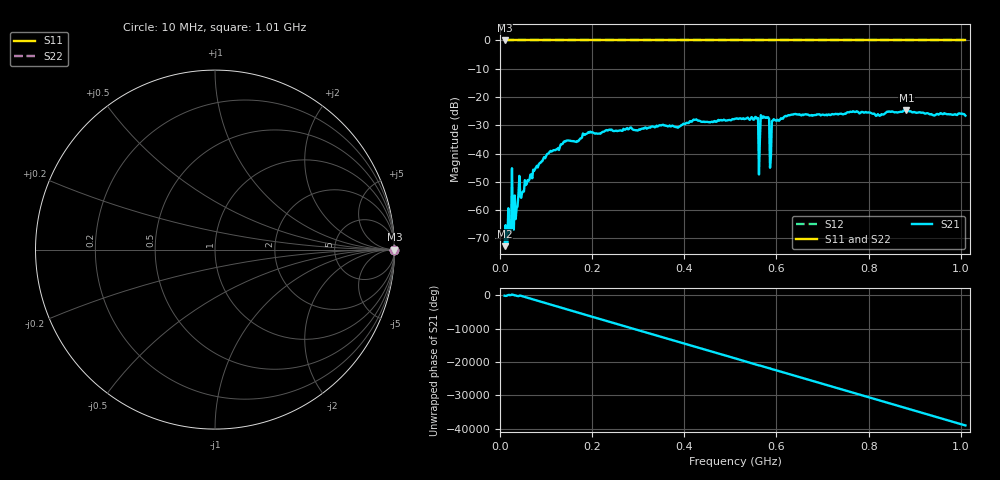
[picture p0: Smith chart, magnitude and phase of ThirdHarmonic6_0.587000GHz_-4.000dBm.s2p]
! 8/15/2025 7:00:45 PM
! C:\ANRITSUVNA\TEMP\TEMP.S2P
! CHANNEL.1
! TR.MEASUREMENT
! RAW.DATA
! RF.CORRECTION.OFF
! AVERAGING.OFF
! IF.BANDWIDTH: 5KHZ
! SWEEPTYPE:  FREQ.SWEEP(Linear)
! Reference Plane Port Info
! PORT:  PORT1  PORT2
! DISTANCE:  0  m  0  m
! TIME:  0  s  0  s
! PHASE.OFFSET:  0  deg.  0  deg.
! LOSS:  0  dB  0  dB
! REF.LOSS:  0  dB  0  dB
! REF.FREQ:  0  Hz  0  Hz
! Power Info
! POWER:  -20  dBm  -20  dBm
! EFF.POWER:  -20  dBm  -20  dBm
! SOURCE.ATTEN:  0  dB  0  dB
! TEST.ATTEN:  0  dB  0  dB
# GHZ S RI R 50.0
! FREQ.GHZ  S11RE  S11IM  S21RE  S21IM  S12RE  S12IM  S22RE  S22IM
!; PortSelection: Port_12
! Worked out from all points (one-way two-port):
!   501 points, 10 MHz to 1.01 GHz, reference 50 ohm
!   highest |S21| = -24.68 dB at 882 MHz (marker M1); lowest = -72.7 dB at 10 MHz (marker M2)
!   lowest |S11| = 0.0 dB at 10 MHz (marker M3)
!   |S11| at or under -10 dB: nowhere
!   |S22| runs from 0.0 to 0.0 dB; largest |S21 - S12| = 1.1
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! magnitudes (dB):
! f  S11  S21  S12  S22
! 10 MHz  0.0  -72.7  0.0  0.0
! 20 MHz  0.0  -67.3  0.0  0.0
! 22 MHz  0.0  -68.1  0.0  0.0
! 30 MHz  0.0  -66.9  0.0  0.0
! 32 MHz  0.0  -54.8  0.0  0.0
! 44 MHz  0.0  -55.1  0.0  0.0
! 76 MHz  0.0  -45.6  0.0  0.0
! 178 MHz  0.0  -34.3  0.0  0.0
! 344 MHz  0.0  -30.2  0.0  0.0
! 510 MHz  0.0  -27.7  0.0  0.0
! 556 MHz  0.0  -27.2  0.0  0.0
! 560 MHz  0.0  -27.5  0.0  0.0
! 566 MHz  0.0  -26.4  0.0  0.0
! 570 MHz  0.0  -27.4  0.0  0.0
! 580 MHz  0.0  -27.4  0.0  0.0
! 584 MHz  0.0  -27.7  0.0  0.0
! 590 MHz  0.0  -28.5  0.0  0.0
! 594 MHz  0.0  -27.8  0.0  0.0
! 678 MHz  0.0  -26.6  0.0  0.0
! 844 MHz  0.0  -25.1  0.0  0.0
! 882 MHz  0.0  -24.7  0.0  0.0
! 1.01 GHz  0.0  -26.6  0.0  0.0
